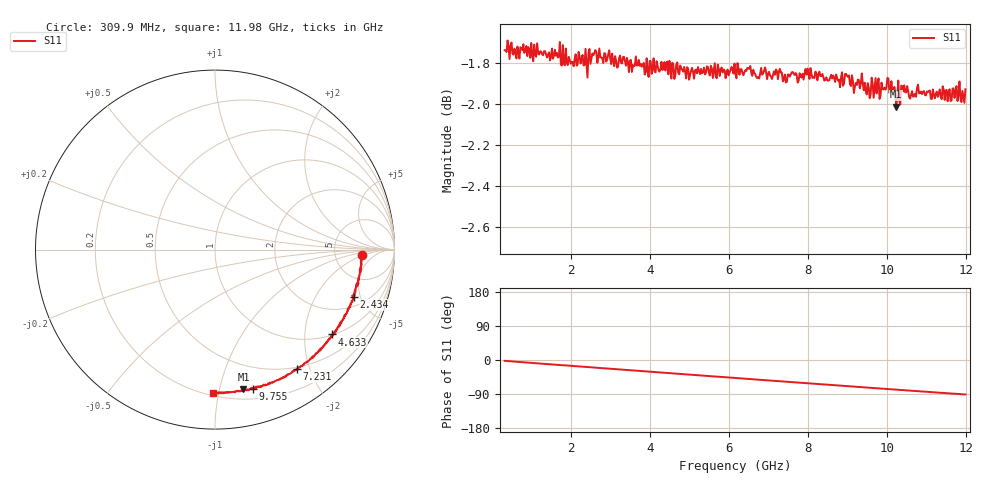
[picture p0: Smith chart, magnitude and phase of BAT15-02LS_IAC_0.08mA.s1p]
! Infineon Technologies  Discrete & RF Semiconductors
! BAT15-02ELS
! IAC = 0.08 mA
! One-Port S-Parameters
# Hz  S  MA  R  50
!f  S11
!Hz  Mag  Ang
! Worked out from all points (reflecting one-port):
!   468 points, 309.9 MHz to 11.98 GHz, reference 50 ohm
!   lowest |S11| = -2.0 dB at 10.23 GHz (marker M1), VSWR 8.67, Z = 14.1 - j59.2 ohm
!   phase of S11 starts at -2 deg and turns -89 deg over the sweep
!   S11 on the Smith chart (normalised r, x): 309.9 MHz: 9.65, -1.87; 2.434 GHz: 2.75, -4.36; 4.633 GHz: 1.02, -2.76; 7.231 GHz: 0.47, -1.80; 9.755 GHz: 0.29, -1.27; 11.98 GHz: 0.22, -0.96
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3.0985e8  0.8185 -2.2
4.347875e8  0.8145 -3.2
1.10945e9  0.8156 -8.6
1.659175e9  0.8152 -12.9
1.784112e9  0.8209 -13.8
2.233888e9  0.8125 -17.2
2.433788e9  0.8168 -18.8
2.583712e9  0.8173 -19.9
3.233388e9  0.8161 -24.8
4.032988e9  0.8078 -31.2
4.632688e9  0.8072 -35.9
4.70765e9  0.8083 -36.4
5.482262e9  0.8083 -42.4
6.156925e9  0.8077 -47.5
7.231388e9  0.8054 -55.7
7.4063e9  0.8075 -57.0
7.6062e9  0.8086 -58.5
8.230888e9  0.8049 -63.4
9.080462e9  0.8023 -69.7
9.755125e9  0.8034 -74.7
1.005498e10  0.7993 -77.0
1.022989e10  0.7931 -78.5
1.052974e10  0.8001 -80.4
1.145428e10  0.7961 -87.3
1.157921e10  0.8009 -88.0
1.177911e10  0.7956 -89.7
1.190405e10  0.8001 -90.4
1.197901e10  0.8009 -90.9
